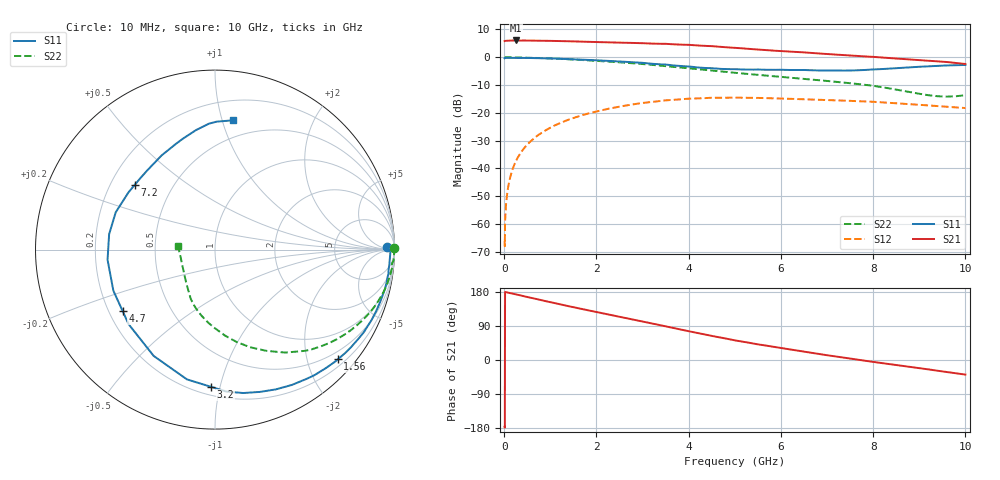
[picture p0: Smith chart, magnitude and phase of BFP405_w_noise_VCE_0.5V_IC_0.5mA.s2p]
! Infineon Technologies  Discrete & RF Semiconductors
! BFP405
! VCE =  0.5 V,  IC =  0.5 mA
! Common Emitter S-Parameters:  Jan 2016
# GHz  S  MA  R  50
!  f  S11  S21  S12  S22
! GHz  MAG  ANG  MAG  ANG  MAG  ANG  MAG  ANG
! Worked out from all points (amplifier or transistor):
!   233 points, 10 MHz to 10 GHz, reference 50 ohm
!   highest |S21| = 6.0 dB at 260 MHz (marker M1)
!   |S21| within 3 dB of that: start of sweep to 5.279 GHz
!   unconditionally stable (mu >= 1): 5.489 GHz to end of sweep
!   at 200 MHz: K = 0.02, MSG = 22.7 dB, |S12| = -39.5 dB
!   at 1.74 GHz: K = 0.23, MSG = 13.1 dB, |S12| = -20.6 dB
!   at 10 GHz: K = 2.34, MAG = 1.4 dB, |S12| = -18.3 dB
!   lowest NFmin = 0.78 dB at 900 MHz
!   S11 on the Smith chart (normalised r, x): 10 MHz: 44, +15; 1.56 GHz: 0.33, -2.58; 3.2 GHz: 0.25, -0.94; 4.7 GHz: 0.26, -0.28; 7.2 GHz: 0.30, +0.32; 10 GHz: 0.35, +1.09
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0.01  0.96 0.8  1.953 -176.7  0.0005 -42.5  1 0.4
0.015  0.969 0.3  1.961 -178.6  0.0004 58.6  0.9979 0.3
0.02  0.978 -0.1  1.972 179.5  0.0011 85.1  0.9958 0.1
0.025  0.9778 -0.3  1.973 179.4  0.0014 84.4  0.9963 -0.0
0.055  0.9766 -1.7  1.978 178.9  0.003 83.9  0.9987 -0.8
0.08  0.9758 -2.3  1.987 178.0  0.0043 87.2  0.9986 -1.3
0.155  0.9743 -3.9  1.995 176.1  0.0082 87.2  0.9965 -2.8
0.26  0.9739 -6.7  2.006 173.0  0.0138 85.9  0.9892 -4.8
0.74  0.9628 -19.4  1.985 159.8  0.04 77.6  0.9714 -13.2
1.56  0.9177 -41.8  1.923 137.8  0.0839 62.0  0.9048 -26.7
1.68  0.9091 -45.2  1.912 134.7  0.0902 59.7  0.8933 -28.5
2.4  0.8493 -66.5  1.843 116.7  0.125 45.6  0.8221 -39.3
3.2  0.7644 -91.8  1.762 96.6  0.157 29.4  0.731 -50.9
3.4  0.7452 -98.6  1.747 91.4  0.1641 25.4  0.7067 -54.0
4  0.6838 -120.0  1.674 76.0  0.1799 13.5  0.6341 -62.9
4.7  0.6179 -146.5  1.537 59.1  0.1867 0.2  0.5558 -72.9
5.1  0.6049 -161.3  1.459 49.9  0.1873 -6.8  0.5167 -78.3
6  0.5961 171.7  1.293 31.6  0.1812 -19.9  0.444 -89.1
6.8  0.5797 151.8  1.174 16.5  0.1724 -29.2  0.388 -99.0
7.2  0.5744 141.2  1.116 9.2  0.1678 -33.4  0.3614 -104.3
8.4  0.629 110.0  0.962 -11.6  0.1508 -45.2  0.2711 -123.5
10  0.7275 82.0  0.757 -38.5  0.122 -53.3  0.2078 173.9
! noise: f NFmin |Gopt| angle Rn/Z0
0.9  0.78  0.8  16  0.85
1.8  1.31  0.68  35  0.8
2.4  1.61  0.59  48  0.67
3  1.86  0.58  63  0.64
4  2.16  0.46  92  0.41
5  2.4  0.46  126  0.24
